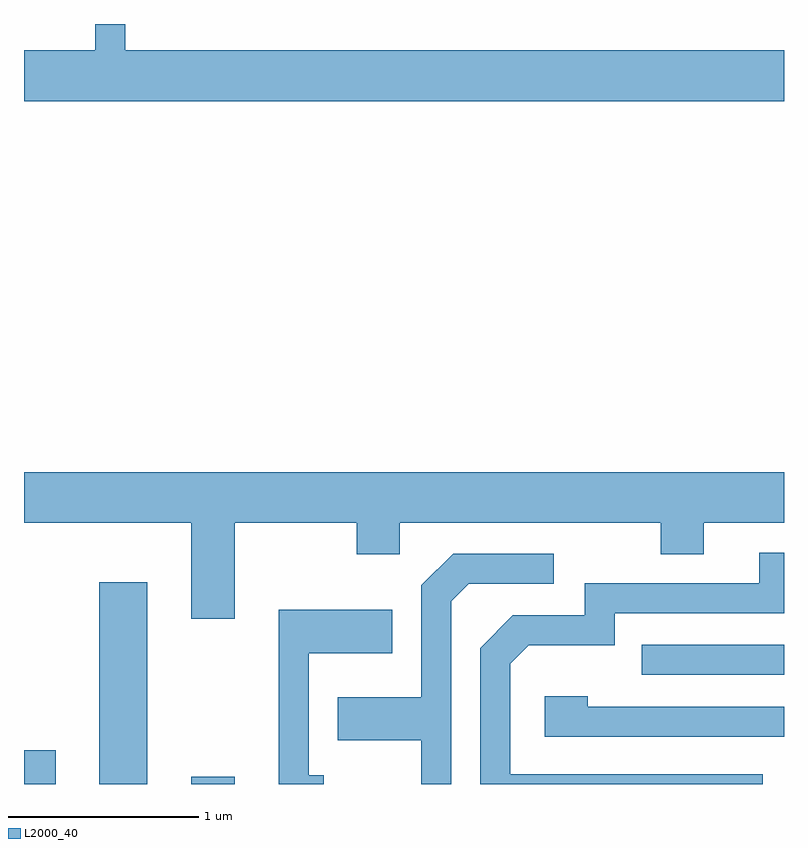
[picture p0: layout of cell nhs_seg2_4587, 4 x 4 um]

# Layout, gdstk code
import gdstk
lib = gdstk.Library(unit=1e-6, precision=1e-09)
def R(c, l, rs):  # rectangles x0, y0, x1, y1
    for r in rs: c.add(gdstk.rectangle(r[:2], r[2:], *l))
def P(c, l, *ps):  # polygons
    for p in ps: c.add(gdstk.Polygon(p, *l))
L2000_40 = (2000, 40)

nhs_seg2_4587 = lib.new_cell('nhs_seg2_4587')
R(nhs_seg2_4587, L2000_40, [(319.611,1075.802,319.779,1075.979), (320.006,1075.802,320.259,1076.864), (320.491,1075.802,320.719,1075.839), (322.863,1076.376,323.611,1076.534)])
P(nhs_seg2_4587, L2000_40, [(323.611,1079.664),(320.144,1079.664),(320.144,1079.802),(319.986,1079.802),(319.986,1079.664),(319.611,1079.664),(319.611,1079.396),(323.611,1079.396)],
  [(320.719,1077.176),(321.361,1077.176),(321.361,1077.011),(321.589,1077.011),(321.589,1077.176),(322.961,1077.176),(322.961,1077.011),(323.189,1077.011),(323.189,1077.176),(323.611,1077.176),(323.611,1077.444),(319.611,1077.444),(319.611,1077.176),(320.491,1077.176),(320.491,1076.671),(320.719,1076.671)],
  [(323.499,1075.854),(322.169,1075.854),(322.169,1076.434),(322.267,1076.531),(322.719,1076.531),(322.719,1076.701),(323.611,1076.701),(323.611,1077.019),(323.481,1077.019),(323.481,1076.859),(322.561,1076.859),(322.561,1076.689),(322.184,1076.689),(322.011,1076.517),(322.011,1075.802),(323.499,1075.802)],
  [(321.859,1076.764),(321.952,1076.856),(322.398,1076.856),(322.398,1077.014),(321.869,1077.014),(321.701,1076.847),(321.701,1076.259),(321.261,1076.259),(321.261,1076.031),(321.701,1076.031),(321.701,1075.802),(321.859,1075.802)],
  [(321.188,1075.849),(321.109,1075.849),(321.109,1076.491),(321.549,1076.491),(321.549,1076.719),(320.951,1076.719),(320.951,1075.802),(321.188,1075.802)],
  [(323.611,1076.209),(322.579,1076.209),(322.579,1076.264),(322.351,1076.264),(322.351,1076.051),(323.611,1076.051)])

lib.write_gds('nhs_seg2_4587.gds')
